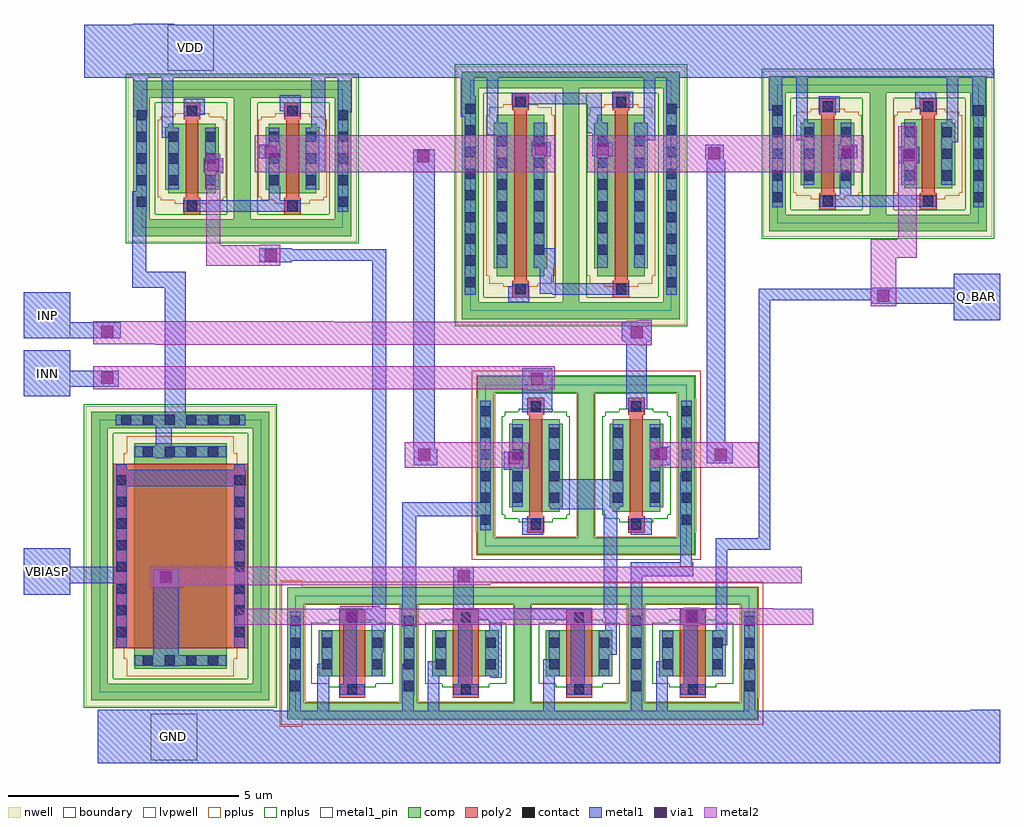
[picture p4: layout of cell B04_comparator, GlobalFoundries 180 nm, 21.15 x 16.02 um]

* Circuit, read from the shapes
.subckt B04_comparator GND INN INP Q_BAR VBIASP VDD
XM1 n1 n1 GND GND nfet_03v3 w=1u l=0.56u
XM2 n2 n2 GND GND nfet_03v3 w=1u l=0.56u
XM3 n3 INN n4 GND nfet_03v3 w=2u l=0.28u
XM4 n3 n2 GND GND nfet_03v3 w=1u l=0.56u
XM5 n5 INP n3 GND nfet_03v3 w=2u l=0.28u
XM6 Q_BAR n1 GND GND nfet_03v3 w=1u l=0.56u
XM7 VDD VBIASP n2 VDD pfet_03v3 w=2u l=4u
XM8 n1 n4 VDD VDD pfet_03v3 w=1.5u l=0.28u
XM9 VDD n4 n4 VDD pfet_03v3 w=1.5u l=0.28u
XM10 n4 n5 VDD VDD pfet_03v3 w=3.5u l=0.28u
XM11 VDD n4 n5 VDD pfet_03v3 w=3.5u l=0.28u
XM12 n5 n5 VDD VDD pfet_03v3 w=1.5u l=0.28u
XM13 VDD n5 Q_BAR VDD pfet_03v3 w=1.5u l=0.28u
.ends

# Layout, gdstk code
from math import pi, radians
import gdstk
lib = gdstk.Library(unit=1e-6, precision=1e-09)
def R(c, l, rs):  # rectangles x0, y0, x1, y1
    for r in rs: c.add(gdstk.rectangle(r[:2], r[2:], *l))
def A(c, l, x, y, w, h, nx, ny, dx, dy):  # array of equal rectangles
    R(c, l, [(x+i*dx, y+j*dy, x+i*dx+w, y+j*dy+h) for i in range(nx) for j in range(ny)])
boundary = (0, 0)
nwell = (21, 0)
comp = (22, 0)
poly2 = (30, 0)
pplus = (31, 0)
nplus = (32, 0)
contact = (33, 0)
metal1 = (34, 0)
metal1_pin = (34, 10)
via1 = (35, 0)
metal2 = (36, 0)
lvpwell = (204, 0)

nfet_03v3_fqs73h = lib.new_cell('nfet_03v3_FQS73H')
R(nfet_03v3_fqs73h, boundary, [(-1.23,-1.25,1.23,1.25)])
R(nfet_03v3_fqs73h, comp, [(-1.41,-1.43,1.41,-1.07), (-1.41,-1.07,-1.05,1.07), (1.05,-1.07,1.41,1.07), (-0.72,-0.5,0.72,0.5), (-1.41,1.07,1.41,1.43)])
R(nfet_03v3_fqs73h, poly2, [(-0.28,-0.96,0.28,0.96)])
R(nfet_03v3_fqs73h, pplus, [(-1.43,-1.45,1.43,-1.05), (-1.43,-1.05,-1.02,-0.945), (1.02,-1.05,1.43,-0.945), (-1.44,-0.945,-1.02,0.945), (1.02,-0.945,1.44,0.945), (-1.43,0.945,-1.02,1.05), (1.02,0.945,1.43,1.05), (-1.43,1.05,1.43,1.45)])
R(nfet_03v3_fqs73h, nplus, [(-0.51,-0.73,0.51,-0.66), (-0.88,-0.66,0.88,0.66), (-0.51,0.66,0.51,0.73)])
A(nfet_03v3_fqs73h, contact, -1.34, -0.815, 0.22, 0.22, 1, 4, 0, 0.47)
A(nfet_03v3_fqs73h, contact, 1.12, -0.815, 0.22, 0.22, 1, 4, 0, 0.47)
R(nfet_03v3_fqs73h, contact, [(-0.11,-0.89,0.11,-0.67), (-0.65,-0.345,-0.43,-0.125), (0.43,-0.345,0.65,-0.125), (-0.65,0.125,-0.43,0.345), (0.43,0.125,0.65,0.345), (-0.11,0.67,0.11,0.89)])
R(nfet_03v3_fqs73h, metal1, [(-1.345,-0.905,-1.115,0.905), (1.115,-0.905,1.345,0.905), (-0.27,-0.895,0.27,-0.665), (-0.655,-0.49,-0.425,0.49), (0.425,-0.49,0.655,0.49), (-0.27,0.665,0.27,0.895)])
R(nfet_03v3_fqs73h, lvpwell, [(-1.53,-1.55,1.53,1.55)])

nfet_03v3_qtst4m = lib.new_cell('nfet_03v3_QTST4M')
R(nfet_03v3_qtst4m, boundary, [(-1.23,-1.25,1.23,1.25)])
R(nfet_03v3_qtst4m, comp, [(-1.41,-1.43,1.41,-1.07), (-1.41,-1.07,-1.05,1.07), (1.05,-1.07,1.41,1.07), (-0.72,-0.5,0.72,0.5), (-1.41,1.07,1.41,1.43)])
R(nfet_03v3_qtst4m, poly2, [(-0.28,-0.96,0.28,0.96)])
R(nfet_03v3_qtst4m, pplus, [(-1.43,-1.45,1.43,-1.05), (-1.43,-1.05,-1.03,1.05), (1.02,-1.05,1.43,-0.945), (1.02,-0.945,1.44,0.945), (1.02,0.945,1.43,1.05), (-1.43,1.05,1.43,1.45)])
R(nfet_03v3_qtst4m, nplus, [(-0.51,-0.73,0.51,-0.66), (-0.88,-0.66,0.88,0.66), (-0.51,0.66,0.51,0.73)])
A(nfet_03v3_qtst4m, contact, 1.12, -0.815, 0.22, 0.22, 1, 4, 0, 0.47)
R(nfet_03v3_qtst4m, contact, [(-0.11,-0.89,0.11,-0.67), (-0.65,-0.345,-0.43,-0.125), (0.43,-0.345,0.65,-0.125), (-0.65,0.125,-0.43,0.345), (0.43,0.125,0.65,0.345), (-0.11,0.67,0.11,0.89)])
R(nfet_03v3_qtst4m, metal1, [(1.115,-0.905,1.345,0.905), (-0.27,-0.895,0.27,-0.665), (-0.655,-0.49,-0.425,0.49), (0.425,-0.49,0.655,0.49), (-0.27,0.665,0.27,0.895)])
R(nfet_03v3_qtst4m, lvpwell, [(-1.53,-1.55,1.53,1.55)])

nfet_03v3_6rkkqv = lib.new_cell('nfet_03v3_6RKKQV')
R(nfet_03v3_6rkkqv, boundary, [(-1.23,-1.25,1.23,1.25)])
R(nfet_03v3_6rkkqv, comp, [(-1.41,-1.43,1.41,-1.07), (-1.41,-1.07,-1.05,1.07), (1.05,-1.07,1.41,1.07), (-0.72,-0.5,0.72,0.5), (-1.41,1.07,1.41,1.43)])
R(nfet_03v3_6rkkqv, poly2, [(-0.28,-0.96,0.28,0.96)])
R(nfet_03v3_6rkkqv, pplus, [(-1.43,-1.45,1.43,-1.05), (-1.43,-1.05,-1.02,-0.945), (1.03,-1.05,1.43,1.05), (-1.44,-0.945,-1.02,0.945), (-1.43,0.945,-1.02,1.05), (-1.43,1.05,1.43,1.45)])
R(nfet_03v3_6rkkqv, nplus, [(-0.51,-0.73,0.51,-0.66), (-0.88,-0.66,0.88,0.66), (-0.51,0.66,0.51,0.73)])
A(nfet_03v3_6rkkqv, contact, -1.34, -0.815, 0.22, 0.22, 1, 4, 0, 0.47)
R(nfet_03v3_6rkkqv, contact, [(-0.11,-0.89,0.11,-0.67), (-0.65,-0.345,-0.43,-0.125), (0.43,-0.345,0.65,-0.125), (-0.65,0.125,-0.43,0.345), (0.43,0.125,0.65,0.345), (-0.11,0.67,0.11,0.89)])
R(nfet_03v3_6rkkqv, metal1, [(-1.345,-0.905,-1.115,0.905), (-0.27,-0.895,0.27,-0.665), (-0.655,-0.49,-0.425,0.49), (0.425,-0.49,0.655,0.49), (-0.27,0.665,0.27,0.895)])
R(nfet_03v3_6rkkqv, lvpwell, [(-1.53,-1.55,1.53,1.55)])

nfet_03v3_szy9ed = lib.new_cell('nfet_03v3_SZY9ED')
R(nfet_03v3_szy9ed, boundary, [(-1.09,-1.75,1.09,1.75)])
R(nfet_03v3_szy9ed, comp, [(-1.27,-1.93,1.27,-1.57), (-1.27,-1.57,-0.91,1.57), (0.91,-1.57,1.27,1.57), (-0.515,-1,0.515,-0.905), (-0.58,-0.905,0.58,0.905), (-0.515,0.905,0.515,1), (-1.27,1.57,1.27,1.93)])
R(nfet_03v3_szy9ed, poly2, [(-0.18,-1.46,0.18,-1.1), (-0.14,-1.1,0.14,1.1), (-0.18,1.1,0.18,1.46)])
R(nfet_03v3_szy9ed, pplus, [(-1.29,-1.95,1.29,-1.55), (-1.29,-1.55,-0.88,-1.445), (0.89,-1.55,1.29,1.55), (-1.3,-1.445,-0.88,1.445), (-1.29,1.445,-0.88,1.55), (-1.29,1.55,1.29,1.95)])
R(nfet_03v3_szy9ed, nplus, [(-0.37,-1.23,0.37,-1.16), (-0.675,-1.16,0.675,-1.065), (-0.74,-1.065,0.74,1.065), (-0.675,1.065,0.675,1.16), (-0.37,1.16,0.37,1.23)])
A(nfet_03v3_szy9ed, contact, -1.2, -1.285, 0.22, 0.22, 1, 6, 0, 0.47)
A(nfet_03v3_szy9ed, contact, -0.51, -0.815, 0.22, 0.22, 1, 4, 0, 0.47)
A(nfet_03v3_szy9ed, contact, 0.29, -0.815, 0.22, 0.22, 1, 4, 0, 0.47)
R(nfet_03v3_szy9ed, contact, [(-0.11,-1.39,0.11,-1.17), (-0.11,1.17,0.11,1.39)])
R(nfet_03v3_szy9ed, metal1, [(-1.205,-1.405,-0.975,1.405), (-0.17,-1.395,0.17,-1.165), (-0.515,-0.895,-0.285,0.895), (0.285,-0.895,0.515,0.895), (-0.17,1.165,0.17,1.395)])
R(nfet_03v3_szy9ed, lvpwell, [(-1.39,-2.05,1.39,2.05)])

nfet_03v3_dkwkkf = lib.new_cell('nfet_03v3_DKWKKF')
R(nfet_03v3_dkwkkf, boundary, [(-1.09,-1.75,1.09,1.75)])
R(nfet_03v3_dkwkkf, comp, [(-1.27,-1.93,1.27,-1.57), (-1.27,-1.57,-0.91,1.57), (0.91,-1.57,1.27,1.57), (-0.515,-1,0.515,-0.905), (-0.58,-0.905,0.58,0.905), (-0.515,0.905,0.515,1), (-1.27,1.57,1.27,1.93)])
R(nfet_03v3_dkwkkf, poly2, [(-0.18,-1.46,0.18,-1.1), (-0.14,-1.1,0.14,1.1), (-0.18,1.1,0.18,1.46)])
R(nfet_03v3_dkwkkf, pplus, [(-1.29,-1.95,1.29,-1.55), (-1.29,-1.55,-0.89,1.55), (0.88,-1.55,1.29,-1.445), (0.88,-1.445,1.3,1.445), (0.88,1.445,1.29,1.55), (-1.29,1.55,1.29,1.95)])
R(nfet_03v3_dkwkkf, nplus, [(-0.37,-1.23,0.37,-1.16), (-0.675,-1.16,0.675,-1.065), (-0.74,-1.065,0.74,1.065), (-0.675,1.065,0.675,1.16), (-0.37,1.16,0.37,1.23)])
A(nfet_03v3_dkwkkf, contact, 0.98, -1.285, 0.22, 0.22, 1, 6, 0, 0.47)
A(nfet_03v3_dkwkkf, contact, -0.51, -0.815, 0.22, 0.22, 1, 4, 0, 0.47)
A(nfet_03v3_dkwkkf, contact, 0.29, -0.815, 0.22, 0.22, 1, 4, 0, 0.47)
R(nfet_03v3_dkwkkf, contact, [(-0.11,-1.39,0.11,-1.17), (-0.11,1.17,0.11,1.39)])
R(nfet_03v3_dkwkkf, metal1, [(0.975,-1.405,1.205,1.405), (-0.17,-1.395,0.17,-1.165), (-0.515,-0.895,-0.285,0.895), (0.285,-0.895,0.515,0.895), (-0.17,1.165,0.17,1.395)])
R(nfet_03v3_dkwkkf, lvpwell, [(-1.39,-2.05,1.39,2.05)])

pfet_03v3_6pmkvs = lib.new_cell('pfet_03v3_6PMKVS')
R(pfet_03v3_6pmkvs, boundary, [(-1.09,-1.5,1.09,1.5)])
R(pfet_03v3_6pmkvs, nwell, [(-1.39,-1.8,1.39,1.8)])
R(pfet_03v3_6pmkvs, comp, [(-1.27,-1.68,1.27,-1.32), (-1.27,-1.32,-0.91,1.32), (0.91,-1.32,1.27,1.32), (-0.515,-0.75,0.515,-0.68), (-0.58,-0.68,0.58,0.68), (-0.515,0.68,0.515,0.75), (-1.27,1.32,1.27,1.68)])
R(pfet_03v3_6pmkvs, poly2, [(-0.18,-1.21,0.18,-0.85), (-0.14,-0.85,0.14,0.85), (-0.18,0.85,0.18,1.21)])
R(pfet_03v3_6pmkvs, pplus, [(-0.37,-0.98,0.37,-0.91), (-0.675,-0.91,0.675,-0.84), (-0.74,-0.84,0.74,0.84), (-0.675,0.84,0.675,0.91), (-0.37,0.91,0.37,0.98)])
R(pfet_03v3_6pmkvs, nplus, [(-1.43,-1.84,1.43,-1.21), (-1.43,-1.21,-0.8,1.21), (0.8,-1.21,1.43,1.21), (-1.43,1.21,1.43,1.84)])
A(pfet_03v3_6pmkvs, contact, 0.98, -1.05, 0.22, 0.22, 1, 5, 0, 0.47)
A(pfet_03v3_6pmkvs, contact, -0.51, -0.58, 0.22, 0.22, 1, 3, 0, 0.47)
A(pfet_03v3_6pmkvs, contact, 0.29, -0.58, 0.22, 0.22, 1, 3, 0, 0.47)
R(pfet_03v3_6pmkvs, contact, [(-0.11,-1.14,0.11,-0.92), (-0.11,0.92,0.11,1.14)])
R(pfet_03v3_6pmkvs, metal1, [(0.975,-1.155,1.205,1.155), (-0.17,-1.145,0.17,-0.915), (-0.515,-0.67,-0.285,0.67), (0.285,-0.67,0.515,0.67), (-0.17,0.915,0.17,1.145)])

pfet_03v3_jtxf9x = lib.new_cell('pfet_03v3_JTXF9X')
R(pfet_03v3_jtxf9x, boundary, [(-1.09,-1.5,1.09,1.5)])
R(pfet_03v3_jtxf9x, nwell, [(-1.39,-1.8,1.39,1.8)])
R(pfet_03v3_jtxf9x, comp, [(-1.27,-1.68,1.27,-1.32), (-1.27,-1.32,-0.91,1.32), (0.91,-1.32,1.27,1.32), (-0.515,-0.75,0.515,-0.68), (-0.58,-0.68,0.58,0.68), (-0.515,0.68,0.515,0.75), (-1.27,1.32,1.27,1.68)])
R(pfet_03v3_jtxf9x, poly2, [(-0.18,-1.21,0.18,-0.85), (-0.14,-0.85,0.14,0.85), (-0.18,0.85,0.18,1.21)])
R(pfet_03v3_jtxf9x, pplus, [(-0.37,-0.98,0.37,-0.91), (-0.675,-0.91,0.675,-0.84), (-0.74,-0.84,0.74,0.84), (-0.675,0.84,0.675,0.91), (-0.37,0.91,0.37,0.98)])
R(pfet_03v3_jtxf9x, nplus, [(-1.43,-1.84,1.43,-1.21), (-1.43,-1.21,-0.8,1.21), (0.8,-1.21,1.43,1.21), (-1.43,1.21,1.43,1.84)])
A(pfet_03v3_jtxf9x, contact, -1.2, -1.05, 0.22, 0.22, 1, 5, 0, 0.47)
A(pfet_03v3_jtxf9x, contact, -0.51, -0.58, 0.22, 0.22, 1, 3, 0, 0.47)
A(pfet_03v3_jtxf9x, contact, 0.29, -0.58, 0.22, 0.22, 1, 3, 0, 0.47)
R(pfet_03v3_jtxf9x, contact, [(-0.11,-1.14,0.11,-0.92), (-0.11,0.92,0.11,1.14)])
R(pfet_03v3_jtxf9x, metal1, [(-1.205,-1.155,-0.975,1.155), (-0.17,-1.145,0.17,-0.915), (-0.515,-0.67,-0.285,0.67), (0.285,-0.67,0.515,0.67), (-0.17,0.915,0.17,1.145)])

pfet_03v3_6pxp3v = lib.new_cell('pfet_03v3_6PXP3V')
R(pfet_03v3_6pxp3v, boundary, [(-1.09,-2.5,1.09,2.5)])
R(pfet_03v3_6pxp3v, nwell, [(-1.39,-2.8,1.39,2.8)])
R(pfet_03v3_6pxp3v, comp, [(-1.27,-2.68,1.27,-2.32), (-1.27,-2.32,-0.91,2.32), (0.91,-2.32,1.27,2.32), (-0.515,-1.75,0.515,-1.58), (-0.58,-1.58,0.58,1.58), (-0.515,1.58,0.515,1.75), (-1.27,2.32,1.27,2.68)])
R(pfet_03v3_6pxp3v, poly2, [(-0.18,-2.21,0.18,-1.85), (-0.14,-1.85,0.14,1.85), (-0.18,1.85,0.18,2.21)])
R(pfet_03v3_6pxp3v, pplus, [(-0.37,-1.98,0.37,-1.91), (-0.675,-1.91,0.675,-1.74), (-0.74,-1.74,0.74,1.74), (-0.675,1.74,0.675,1.91), (-0.37,1.91,0.37,1.98)])
R(pfet_03v3_6pxp3v, nplus, [(-1.43,-2.84,1.43,-2.21), (-1.43,-2.21,-0.8,2.21), (0.8,-2.21,1.43,2.21), (-1.43,2.21,1.43,2.84)])
A(pfet_03v3_6pxp3v, contact, -1.2, -1.99, 0.22, 0.22, 1, 9, 0, 0.47)
A(pfet_03v3_6pxp3v, contact, -0.51, -1.285, 0.22, 0.22, 1, 6, 0, 0.47)
A(pfet_03v3_6pxp3v, contact, 0.29, -1.285, 0.22, 0.22, 1, 6, 0, 0.47)
R(pfet_03v3_6pxp3v, contact, [(-0.11,-2.14,0.11,-1.92), (-0.11,1.92,0.11,2.14)])
R(pfet_03v3_6pxp3v, metal1, [(-1.205,-2.155,-0.975,2.155), (-0.17,-2.145,0.17,-1.915), (-0.515,-1.57,-0.285,1.57), (0.285,-1.57,0.515,1.57), (-0.17,1.915,0.17,2.145)])

pfet_03v3_2meg6f = lib.new_cell('pfet_03v3_2MEG6F')
R(pfet_03v3_2meg6f, boundary, [(-1.09,-2.5,1.09,2.5)])
R(pfet_03v3_2meg6f, nwell, [(-1.39,-2.8,1.39,2.8)])
R(pfet_03v3_2meg6f, comp, [(-1.27,-2.68,1.27,-2.32), (-1.27,-2.32,-0.91,2.32), (0.91,-2.32,1.27,2.32), (-0.515,-1.75,0.515,-1.58), (-0.58,-1.58,0.58,1.58), (-0.515,1.58,0.515,1.75), (-1.27,2.32,1.27,2.68)])
R(pfet_03v3_2meg6f, poly2, [(-0.18,-2.21,0.18,-1.85), (-0.14,-1.85,0.14,1.85), (-0.18,1.85,0.18,2.21)])
R(pfet_03v3_2meg6f, pplus, [(-0.37,-1.98,0.37,-1.91), (-0.675,-1.91,0.675,-1.74), (-0.74,-1.74,0.74,1.74), (-0.675,1.74,0.675,1.91), (-0.37,1.91,0.37,1.98)])
R(pfet_03v3_2meg6f, nplus, [(-1.43,-2.84,1.43,-2.21), (-1.43,-2.21,-0.8,2.21), (0.8,-2.21,1.43,2.21), (-1.43,2.21,1.43,2.84)])
A(pfet_03v3_2meg6f, contact, 0.98, -1.99, 0.22, 0.22, 1, 9, 0, 0.47)
A(pfet_03v3_2meg6f, contact, -0.51, -1.285, 0.22, 0.22, 1, 6, 0, 0.47)
A(pfet_03v3_2meg6f, contact, 0.29, -1.285, 0.22, 0.22, 1, 6, 0, 0.47)
R(pfet_03v3_2meg6f, contact, [(-0.11,-2.14,0.11,-1.92), (-0.11,1.92,0.11,2.14)])
R(pfet_03v3_2meg6f, metal1, [(0.975,-2.155,1.205,2.155), (-0.17,-2.145,0.17,-1.915), (-0.515,-1.57,-0.285,1.57), (0.285,-1.57,0.515,1.57), (-0.17,1.915,0.17,2.145)])

pfet_03v3_vefsyj = lib.new_cell('pfet_03v3_VEFSYJ')
R(pfet_03v3_vefsyj, boundary, [(-2.95,-1.75,2.95,1.75)])
R(pfet_03v3_vefsyj, nwell, [(-3.25,-2.05,3.25,2.05)])
R(pfet_03v3_vefsyj, comp, [(-3.13,-1.93,3.13,-1.57), (-3.13,-1.57,-2.77,1.57), (2.77,-1.57,3.13,1.57), (-2.44,-1,2.44,1), (-3.13,1.57,3.13,1.93)])
R(pfet_03v3_vefsyj, poly2, [(-2,-1.46,2,1.46)])
R(pfet_03v3_vefsyj, pplus, [(-2.23,-1.23,2.23,-1.16), (-2.6,-1.16,2.6,1.16), (-2.23,1.16,2.23,1.23)])
R(pfet_03v3_vefsyj, nplus, [(-3.29,-2.09,3.29,-1.46), (-3.29,-1.46,-2.66,1.46), (2.66,-1.46,3.29,1.46), (-3.29,1.46,3.29,2.09)])
A(pfet_03v3_vefsyj, contact, -1.755, -1.39, 0.22, 0.22, 8, 2, 0.47, 2.56)
A(pfet_03v3_vefsyj, contact, -3.06, -1.285, 0.22, 0.22, 1, 6, 0, 0.47)
A(pfet_03v3_vefsyj, contact, -2.37, -0.815, 0.22, 0.22, 1, 4, 0, 0.47)
A(pfet_03v3_vefsyj, contact, 2.15, -0.815, 0.22, 0.22, 1, 4, 0, 0.47)
R(pfet_03v3_vefsyj, metal1, [(-3.065,-1.405,-2.835,1.405), (-1.99,-1.395,1.99,-1.165), (-2.375,-0.99,-2.145,0.99), (2.145,-0.99,2.375,0.99), (-1.99,1.165,1.99,1.395)])

b04_comparator = lib.new_cell('B04_comparator')
R(b04_comparator, nwell, [(15.845,3.25,16.095,3.85)])
R(b04_comparator, pplus, [(14.84,-9.115,15.33,-8.975), (14.84,-8.975,14.98,-8.47), (14.84,-8.47,14.97,-6.58), (14.84,-6.58,14.98,-6.075), (14.84,-6.075,15.33,-5.935)])
R(b04_comparator, metal1, [(10.9,-9.9,30.45,-8.765), (10.9,-8.765,14.7,-8.75), (15.05,-8.765,15.3,-7.75), (15.66,-8.765,15.91,-7.75), (17.5,-8.765,17.75,-7.75), (18.05,-8.765,18.3,-7.7), (20.55,-8.765,20.8,-7.65), (22.45,-8.765,22.7,-5.85), (23,-8.765,23.25,-7.7), (24.9,-8.765,25.15,-7.75), (29.8,-8.765,30.45,-8.75), (16.215,-8.4,16.515,-6.86), (18.71,-8.4,19.01,-6.8), (21.15,-8.4,21.45,-6.795), (23.6,-8.4,23.9,-6.88), (19.4,-8.05,19.65,-7.35), (12.1,-7.8,12.65,-5.7), (21.9,-7.55,22.15,-6.75), (16.845,-7.5,17.095,-7.05), (19.385,-7.35,19.65,-6.8), (24.29,-7.35,24.54,-5.275), (16.835,-7.05,17.14,-6.86), (17.5,-6.95,17.8,-4.55), (23.6,-6.88,24.025,-6.83), (16.15,-6.86,17.14,-6.56), (23.6,-6.83,24,-6.63), (18.6,-6.8,19.8,-6.795), (18.6,-6.795,21.6,-6.55), (21.86,-6.75,22.16,-4.4), (23.52,-6.63,24.025,-6.58), (16.165,-6.56,16.615,-6.55), (16.85,-6.56,17.15,-6.55), (16.85,-6.55,17.155,0.98), (18.6,-6.55,19.05,-5.65), (19.65,-6.55,21.6,-6.545), (9.3,-6.25,10.3,-6), (9.3,-6,11.5,-5.65), (22.45,-5.85,23.8,-5.55), (9.3,-5.65,10.3,-5.25), (23.525,-5.55,23.775,-3.6), (24.29,-5.275,25.475,-5.025), (25.225,-5.025,25.475,0.125), (20.1,-4.95,20.55,-4.6), (22.45,-4.95,22.9,-4.6), (17.5,-4.55,19.4,-4.25), (20.7,-4.4,22.2,-3.75), (11.3,-3.9,14.1,-3.55), (19.7,-3.55,20,-3.45), (17.75,-3.45,18.25,-3.1), (19.7,-3.45,20.12,-3.15), (23.01,-3.45,23.31,-3.35), (24.095,-3.4,24.66,-2.95), (22.9,-3.35,23.31,-3.05), (12.15,-3.3,12.5,-2.645), (17.735,-3.1,18.2,3.4), (24.095,-2.95,24.495,3.17), (12.15,-2.645,12.8,-2.35), (12.35,-2.35,12.8,0.4), (20.1,-2.3,20.75,-1.35), (22.355,-2.235,22.805,-2.2), (22.35,-2.2,22.805,-1.885), (9.3,-1.95,10.3,-1.75), (22.35,-1.885,22.8,-0.77), (9.3,-1.75,11.35,-1.4), (9.3,-1.4,10.3,-0.95), (22.3,-0.77,22.85,-0.75), (22.25,-0.75,22.9,-0.35), (9.3,-0.7,11.4,-0.35), (9.3,-0.35,10.3,0.3), (29.45,-0.3,30.45,0.05), (27.65,0.05,30.45,0.125), (19.795,0.08,20.245,0.43), (25.225,0.125,30.45,0.375), (20.75,0.25,22.4,0.265), (20.475,0.265,22.4,0.5), (27.65,0.375,30.45,0.4), (11.65,0.4,12.8,0.75), (29.45,0.4,30.45,0.7), (20.475,0.5,20.775,0.85), (11.65,0.75,11.95,2.495), (20.35,0.85,20.8,1.25), (14.4,0.95,15.1,0.98), (14.4,0.98,17.155,1.23), (14.4,1.23,16.65,1.235), (14.4,1.235,15.1,1.25), (12.75,2.05,15.3,2.3), (26.56,2.15,29.06,2.4), (14.6,2.3,14.85,2.6), (26.98,2.4,27.23,2.85), (11.75,2.495,11.95,2.5), (13.2,2.9,13.615,3.2), (15.525,2.9,15.825,3.85), (28.25,3.1,28.7,3.45), (14.755,3.15,14.83,3.2), (24.06,3.17,24.46,3.5), (14.4,3.2,14.85,3.5), (26.95,3.2,27.36,3.5), (20.3,3.25,20.71,3.55), (21.61,3.25,22.06,3.55), (21.61,3.55,21.91,3.75), (29.295,3.555,29.545,4.95), (22.73,3.6,22.98,4.95), (26.03,3.6,26.28,4.95), (12.285,3.65,12.535,4.95), (19.33,3.7,19.58,4.95), (21.51,3.75,21.815,4.375), (15.525,3.85,15.835,4.15), (11.67,4.1,11.97,4.95), (18.76,4.1,19.06,4.95), (29.845,4.1,30.145,4.95), (12.765,4.15,13.215,4.5), (15.525,4.15,15.825,4.95), (16.1,4.2,16.4,4.95), (26.525,4.2,26.975,4.55), (14.845,4.22,15.295,4.57), (25.435,4.25,25.735,4.95), (28.615,4.29,29.065,4.64), (22.05,4.3,22.5,4.65), (23.215,4.3,23.515,4.95), (19.87,4.375,21.815,4.625), (10.61,4.95,30.31,6.1), (11.66,6.1,12.56,6.115)])
R(b04_comparator, metal1_pin, [(12.05,-9.835,13.05,-8.835), (9.3,-6.25,10.3,-5.25), (9.3,-1.95,10.3,-0.95), (9.3,-0.7,10.3,0.3), (29.45,-0.3,30.45,0.7), (12.41,5.1,13.41,6.1)])
R(b04_comparator, via1, [(23.645,-6.86,23.905,-6.6), (16.27,-6.83,16.53,-6.57), (12.245,-6.005,12.505,-5.745), (18.695,-5.98,18.955,-5.72), (19.79,-3.43,20.05,-3.17), (17.845,-3.355,18.105,-3.095), (24.27,-3.355,24.53,-3.095), (22.97,-3.33,23.23,-3.07), (20.295,-1.705,20.555,-1.445), (10.97,-1.68,11.23,-1.42), (22.445,-0.7,22.705,-0.44), (10.97,-0.68,11.23,-0.42), (27.795,0.095,28.055,0.355), (14.52,0.97,14.78,1.23), (13.27,2.92,13.53,3.18), (17.82,3.12,18.08,3.38), (28.34,3.145,28.6,3.405), (24.13,3.18,24.39,3.44), (14.52,3.22,14.78,3.48), (27.02,3.22,27.28,3.48), (20.37,3.27,20.63,3.53), (21.715,3.27,21.975,3.53)])
R(b04_comparator, metal2, [(23.6,-6.93,23.95,-6.905), (13.905,-6.905,18.605,-6.9), (19.955,-6.905,23.95,-6.9), (24.305,-6.905,26.405,-6.9), (13.905,-6.9,26.405,-6.555), (16.1,-6.555,17.45,-6.55), (18.355,-6.555,19.955,-6.55), (23.25,-6.555,25.55,-6.55), (16.15,-6.55,17.005,-6.5), (23.6,-6.55,23.95,-6.53), (12.05,-6.1,12.75,-6.05), (12.05,-6.05,19.4,-6), (12.05,-6,26.15,-5.65), (19.95,-3.515,20.235,-3.5), (17.55,-3.5,20.235,-2.965), (22.86,-3.5,25.21,-2.95), (17.55,-2.965,20.1,-2.95), (20.2,-1.825,20.65,-1.8), (10.8,-1.8,20.8,-1.3), (22.6,-0.85,22.9,-0.835), (12.15,-0.84,12.7,-0.835), (12.15,-0.835,22.9,-0.825), (10.8,-0.825,22.9,-0.335), (10.8,-0.335,16,-0.325), (22.35,-0.335,22.9,-0.32), (22.6,-0.32,22.9,-0.3), (27.65,0,28.2,1.05), (13.25,0.875,14.405,0.88), (13.25,0.88,14.85,1.325), (27.65,1.05,28.65,1.45), (13.25,1.325,13.55,2.885), (14.405,1.325,14.85,1.33), (28.25,1.45,28.65,3.9), (13.215,2.885,13.615,3.21), (14.3,2.9,20.8,3.7), (21.51,2.9,27.5,3.7), (13.25,3.21,13.55,3.3)])
R(b04_comparator, lvpwell, [(23.525,-5.65,23.775,-3.6)])
b04_comparator.add(gdstk.Reference(nfet_03v3_fqs73h, (16.41,-7.525)))
b04_comparator.add(gdstk.Reference(nfet_03v3_qtst4m, (21.33,-7.525)))
b04_comparator.add(gdstk.Reference(nfet_03v3_6rkkqv, (18.87,-7.525)))
b04_comparator.add(gdstk.Reference(nfet_03v3_szy9ed, (20.39,-3.45)))
b04_comparator.add(gdstk.Reference(nfet_03v3_fqs73h, (23.79,-7.525)))
b04_comparator.add(gdstk.Reference(nfet_03v3_dkwkkf, (22.57,-3.45)))
b04_comparator.add(gdstk.Reference(pfet_03v3_6pmkvs, (15.12,3.2)))
b04_comparator.add(gdstk.Reference(pfet_03v3_jtxf9x, (12.94,3.2)))
b04_comparator.add(gdstk.Reference(pfet_03v3_6pxp3v, (20.06,2.4)))
b04_comparator.add(gdstk.Reference(pfet_03v3_2meg6f, (22.24,2.4)))
b04_comparator.add(gdstk.Reference(pfet_03v3_jtxf9x, (26.715,3.3)))
b04_comparator.add(gdstk.Reference(pfet_03v3_6pmkvs, (28.895,3.3)))
b04_comparator.add(gdstk.Reference(pfet_03v3_vefsyj, (12.69,-5.415), rotation=3*pi/2))
b04_comparator.add(gdstk.Label('VDD', (12.91,5.6), layer=34, texttype=10))
b04_comparator.add(gdstk.Label('GND', (12.55,-9.335), layer=34, texttype=10))
b04_comparator.add(gdstk.Label('INN', (9.8,-1.45), layer=34, texttype=10))
b04_comparator.add(gdstk.Label('INP', (9.8,-0.2), layer=34, texttype=10))
b04_comparator.add(gdstk.Label('Q_BAR', (29.95,0.2), layer=34, texttype=10))
b04_comparator.add(gdstk.Label('VBIASP', (9.8,-5.75), layer=34, texttype=10))

lib.write_gds('B04_comparator.gds')
